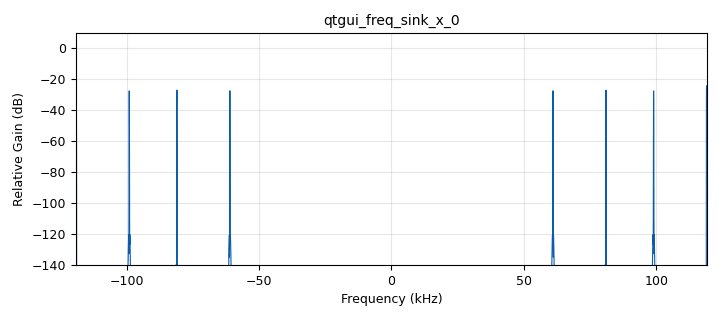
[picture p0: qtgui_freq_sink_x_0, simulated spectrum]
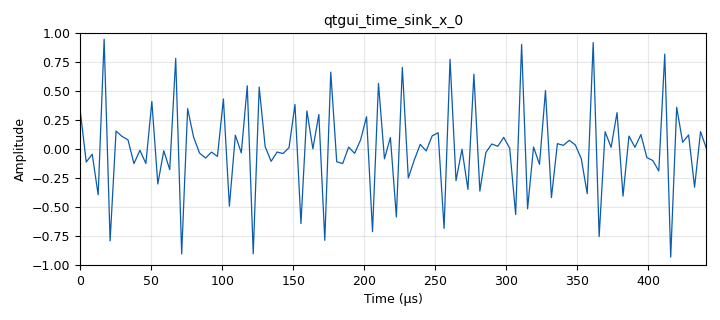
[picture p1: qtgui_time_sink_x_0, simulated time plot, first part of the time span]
options:
  parameters:
    author: uis-e3t
    generate_options: qt_gui
    id: parte3
    output_language: python
    title: Not titled yet
  states: {}

blocks:
- name: N
  id: variable_qtgui_range
  parameters:
    label: multiplicador de samp_rate
    orient: Qt.Horizontal
    rangeType: int
    start: '1'
    step: '1'
    stop: '300'
    value: '2'
  states: {}
- name: samp_rate
  id: variable
  parameters:
    value: 119000*N
  states: {}
- name: analog_sig_source_x_0
  id: analog_sig_source_x
  parameters:
    amp: '1'
    freq: '19000'
    offset: '0'
    phase: '0'
    samp_rate: samp_rate
    type: float
    waveform: analog.GR_COS_WAVE
  states: {}
- name: analog_sig_source_x_1
  id: analog_sig_source_x
  parameters:
    amp: '1'
    freq: '90000'
    offset: '0'
    phase: '0'
    samp_rate: samp_rate
    type: float
    waveform: analog.GR_COS_WAVE
  states: {}
- name: analog_sig_source_x_2
  id: analog_sig_source_x
  parameters:
    amp: '1'
    freq: '10000'
    offset: '0'
    phase: '0'
    samp_rate: samp_rate
    type: float
    waveform: analog.GR_COS_WAVE
  states: {}
- name: blocks_multiply_xx_0
  id: blocks_multiply_xx
  parameters:
    num_inputs: '3'
    type: float
  states: {}
- name: qtgui_freq_sink_x_0
  id: qtgui_freq_sink_x
  parameters:
    bw: samp_rate
    fc: '0'
    fftsize: '8192'
    type: float
    wintype: firdes.WIN_BLACKMAN_hARRIS
  states: {}
- name: qtgui_time_sink_x_0
  id: qtgui_time_sink_x
  parameters:
    size: '1024'
    srate: samp_rate
    type: float
  states: {}

connections:
- [analog_sig_source_x_0, '0', blocks_multiply_xx_0, '0']
- [analog_sig_source_x_1, '0', blocks_multiply_xx_0, '1']
- [analog_sig_source_x_2, '0', blocks_multiply_xx_0, '2']
- [blocks_multiply_xx_0, '0', qtgui_freq_sink_x_0, '0']
- [blocks_multiply_xx_0, '0', qtgui_time_sink_x_0, '0']

metadata:
  file_format: 1
